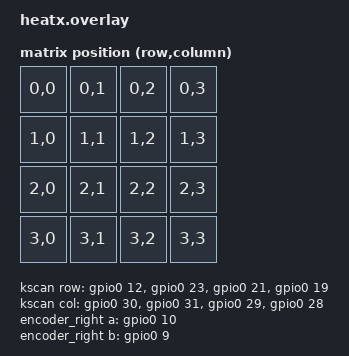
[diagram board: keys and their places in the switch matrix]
#include <dt-bindings/zmk/matrix_transform.h>
#include <dt-bindings/nordic/nrf-pinctrl.h>

/ {
    chosen {
        zmk,kscan = &kscan;
        zmk,matrix-transform = &default_transform;
    };

    /* ================= MATRIX ================= */
    kscan: kscan {
        compatible = "zmk,kscan-gpio-matrix";
        diode-direction = "col2row";

        col-gpios = <
            &gpio0 30 GPIO_ACTIVE_HIGH
            &gpio0 31 GPIO_ACTIVE_HIGH
            &gpio0 29 GPIO_ACTIVE_HIGH
            &gpio0 28 GPIO_ACTIVE_HIGH
        >;

        row-gpios = <
            &gpio0 12 (GPIO_ACTIVE_HIGH | GPIO_PULL_DOWN)
            &gpio0 23 (GPIO_ACTIVE_HIGH | GPIO_PULL_DOWN)
            &gpio0 21 (GPIO_ACTIVE_HIGH | GPIO_PULL_DOWN)
            &gpio0 19 (GPIO_ACTIVE_HIGH | GPIO_PULL_DOWN)
        >;
    };

    /* ================= MATRIX TRANSFORM ================= */
    default_transform: keymap_transform_0 {
        compatible = "zmk,matrix-transform";
        columns = <4>;
        rows = <4>;
        map = <
            RC(0,0) RC(0,1) RC(0,2) RC(0,3)
            RC(1,0) RC(1,1) RC(1,2) RC(1,3)
            RC(2,0) RC(2,1) RC(2,2) RC(2,3)
            RC(3,0) RC(3,1) RC(3,2) RC(3,3)
        >;
    };

    /* ================= ENCODER ================= */
    encoder_right: encoder_right {
        compatible = "alps,ec11";
        a-gpios = <&gpio0 10 (GPIO_ACTIVE_LOW | GPIO_PULL_UP)>;
        b-gpios = <&gpio0 9  (GPIO_ACTIVE_LOW | GPIO_PULL_UP)>;
        steps = <24>;
        status = "okay";
    };

    sensors {
        compatible = "zmk,keymap-sensors";
        sensors = <&encoder_right>;

        encoder_right {
            triggers-per-rotation = <24>;
        };
    };
};

/* ================= RGB WS2812 (P1.01) ================= */

&spi1 {
    compatible = "nordic,nrf-spim";
    status = "okay";

    sck-pin = <NRF_PSEL(DISCONNECTED)>;
    mosi-pin = <NRF_PSEL(1, 1)>;   /* P1.01 */
    miso-pin = <NRF_PSEL(DISCONNECTED)>;

    ws2812: ws2812@0 {
        compatible = "worldsemi,ws2812-spi";
        reg = <0>;
        spi-max-frequency = <8000000>;

        chain-length = <1>;
        color-mapping = <1 0 2>;   /* GRB */
    };
};
